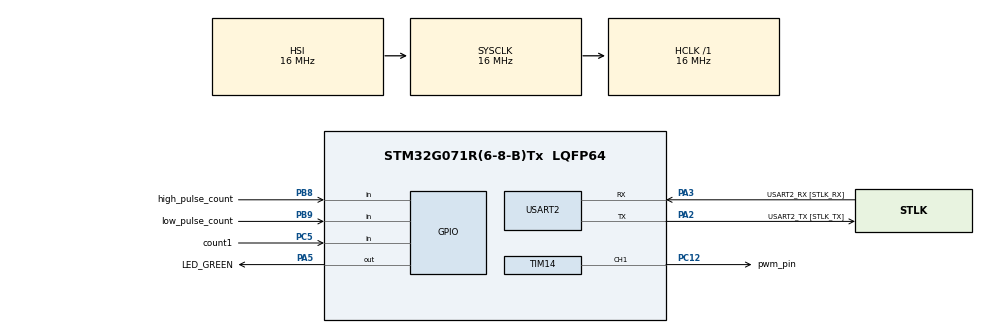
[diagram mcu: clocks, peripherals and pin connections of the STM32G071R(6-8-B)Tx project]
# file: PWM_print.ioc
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Mcu.Family=STM32G0
Mcu.Name=STM32G071R(6-8-B)Tx
Mcu.Package=LQFP64
NVIC.TIM14_IRQn=true\:0\:0\:false\:false\:true\:true\:true
PA13.GPIO_Label=TMS
PA13.Signal=SYS_SWDIO
PA14-BOOT0.GPIO_Label=TCK
PA14-BOOT0.Signal=SYS_SWCLK
PA2.GPIO_Label=USART2_TX [STLK_TX]
PA2.Mode=Asynchronous
PA2.Signal=USART2_TX
PA3.GPIO_Label=USART2_RX [STLK_RX]
PA3.Mode=Asynchronous
PA3.Signal=USART2_RX
PA5.GPIO_Label=LED_GREEN
PA5.GPIO_Speed=GPIO_SPEED_FREQ_HIGH
PA5.Signal=GPIO_Output
PB8.GPIO_Label=high_pulse_count
PB8.Signal=GPIO_Input
PB9.GPIO_Label=low_pulse_count
PB9.Signal=GPIO_Input
PC12.GPIO_Label=pwm_pin
PC12.Signal=S_TIM14_CH1
PC13.Signal=SYS_WKUP2
PC14-OSC32_IN\ (PC14).Signal=RCC_OSC32_IN
PC15-OSC32_OUT\ (PC15).Signal=RCC_OSC32_OUT
PC5.GPIO_Label=count1
PC5.Signal=GPIO_Input
PF0-OSC_IN\ (PF0).GPIO_Label=MCO
PF0-OSC_IN\ (PF0).Signal=RCC_OSC_IN
ProjectManager.HeapSize=0x200
ProjectManager.StackSize=0x400
ProjectManager.TargetToolchain=STM32CubeIDE
RCC.AHBFreq_Value=16000000
RCC.CortexFreq_Value=16000000
RCC.EXTERNAL_CLOCK_VALUE=12288000
RCC.HCLKFreq_Value=16000000
RCC.HSE_VALUE=8000000
RCC.HSI_VALUE=16000000
RCC.LSE_VALUE=32768
RCC.SYSCLKFreq_VALUE=16000000
RCC.VCOOutputFreq_Value=128000000
SH.S_TIM14_CH1.0=TIM14_CH1,PWM Generation1 CH1
TIM14.Channel=TIM_CHANNEL_1
TIM14.Period=1000
TIM14.Prescaler=15999
TIM14.Pulse=99
USART2.VirtualMode-Asynchronous=VM_ASYNC
VP_SYS_VS_DBSignals.Mode=DisableDeadBatterySignals
VP_TIM14_VS_ClockSourceINT.Mode=Enable_Timer
board=NUCLEO-G071RB

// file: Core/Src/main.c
/* USER CODE BEGIN Header */
/**
  ******************************************************************************
  * @file           : main.c
  * @brief          : Main program body
  ******************************************************************************
  * @attention
  *
  * <h2><center>&copy; Copyright (c) 2023 STMicroelectronics.
  * All rights reserved.</center></h2>
  *
  * This software component is licensed by ST under BSD 3-Clause license,
  * the "License"; You may not use this file except in compliance with the
  * License. You may obtain a copy of the License at:
  *                        opensource.org/licenses/BSD-3-Clause
  *
  ******************************************************************************
  */
/* USER CODE END Header */
#include "main.h"

/* USER CODE BEGIN Includes */
#include <stdio.h>
#include <string.h>
/* USER CODE END Includes */

TIM_HandleTypeDef htim14;

UART_HandleTypeDef huart2;

/* USER CODE BEGIN PV */
int input=0;
int count1_pin_input=0;
//int input2=1;
char msg[100];
char msg1[100];
char msg2[100];
int High_pulse_count=0;
int Low_pulse_count=0;
//int time;
int prev_state = 0 ;
int curr_state = 0 ;
/* USER CODE END PV */

void SystemClock_Config(void);
static void MX_GPIO_Init(void);
static void MX_TIM14_Init(void);
static void MX_USART2_UART_Init(void);

int main(void)
{

  /* MCU Configuration--------------------------------------------------------*/

  /* Reset of all peripherals, Initializes the Flash interface and the Systick. */
  HAL_Init();

  /* Configure the system clock */
  SystemClock_Config();

  /* Initialize all configured peripherals */
  MX_GPIO_Init();
  MX_TIM14_Init();
  MX_USART2_UART_Init();
  /* USER CODE BEGIN 2 */
  HAL_TIM_PWM_Start_IT(&htim14, TIM_CHANNEL_1);
  /* USER CODE END 2 */

  /* Infinite loop */
  /* USER CODE BEGIN WHILE */
  while (1)
  {
	  //HAL_Delay(1);
	  input = HAL_GPIO_ReadPin(high_pulse_count_GPIO_Port,	high_pulse_count_Pin);
	  count1_pin_input = HAL_GPIO_ReadPin(count1_GPIO_Port, count1_Pin);

//	  sprintf(msg,"input=%d\r\n",count1_pin_input);
//	  HAL_UART_Transmit(&huart2, (uint8_t*)msg, strlen(msg), HAL_MAX_DELAY);

//	  input = HAL_GPIO_ReadPin(high_pulse_count_GPIO_Port,	high_pulse_count_Pin);
//	  sprintf(msg,"CS=%d\r\n",input);
//	  HAL_UART_Transmit(&huart2, (uint8_t*)msg, strlen(msg), HAL_MAX_DELAY);
//
	  curr_state = input;

	  if(prev_state == 1 && curr_state == 0)
	  {
//		  if(count1_pin_input == 1)
//		  {
//			  High_pulse_count++;
//		  }
		  High_pulse_count++;
		  prev_state = input;

	  }
	  if(prev_state == 0 && curr_state == 1)
	  {
		 Low_pulse_count++;
		 prev_state = input;
	  }

	  sprintf(msg1,"H_2_L_count=%d ",High_pulse_count);
	  HAL_UART_Transmit(&huart2, (uint8_t*)msg1, strlen(msg1), HAL_MAX_DELAY);

	  sprintf(msg2,"L_2_H_count=%d\r\n",Low_pulse_count);
	  HAL_UART_Transmit(&huart2, (uint8_t*)msg2, strlen(msg2), HAL_MAX_DELAY);

//
//	  time = __HAL_TIM_GET_COUNTER(&htim14);
//
//	  if(time==0)
//	  {
//		    input1 = HAL_GPIO_ReadPin(high_pulse_count_GPIO_Port,	high_pulse_count_Pin);
//			input2 = HAL_GPIO_ReadPin(low_pulse_count_GPIO_Port, low_pulse_count_Pin);
//
//			if(input1)
//			{
//				Hpulse++;
//				sprintf(msg1,"high_pulse_count=%d\r\n",Hpulse);
//				HAL_UART_Transmit(&huart2, (uint8_t*)msg1, strlen(msg1), HAL_MAX_DELAY);
//			}
//			if(!input2)
//			{
//				Lpulse++;
//				sprintf(msg2,"low_pulse_count=%d\r\n",Lpulse);
//				HAL_UART_Transmit(&huart2, (uint8_t*)msg2, strlen(msg2), HAL_MAX_DELAY);
//			}
//	  }
//
//	  input = HAL_GPIO_ReadPin(count_GPIO_Port, count_Pin);
//	  time = __HAL_TIM_GET_COUNTER(&htim14);
//
//      HAL_Delay(1);
//
//	  if(time==0)
//	  {
//		  sprintf(msg,"count1=%d  count2 = %d\r\n",count1,count2);
//		  HAL_UART_Transmit(&huart2, (uint8_t*)msg, strlen(msg), HAL_MAX_DELAY);
//		  count2=0;
//		  count1=0;
//	  }
//	  if(input==1)
//	  {
//		  count1++;
//		  //sprintf(msg,"count1=%d\r\n ",count1);
//		  //HAL_UART_Transmit(&huart2, (uint8_t*)msg, strlen(msg), HAL_MAX_DELAY);
//	  }
//	  if(input==0)
//	  {
//		  count2++;
//		  //sprintf(msg,"count2=%d\r\n",count2);
//		  //HAL_UART_Transmit(&huart2, (uint8_t*)msg, strlen(msg), HAL_MAX_DELAY);
//	  }
//	  else
//	  {
//		  count1=0;
//		  count2=0;
//	  }
    /* USER CODE END WHILE */

  }
}

void SystemClock_Config(void)
{
  RCC_OscInitTypeDef RCC_OscInitStruct = {0};
  RCC_ClkInitTypeDef RCC_ClkInitStruct = {0};
  RCC_PeriphCLKInitTypeDef PeriphClkInit = {0};

  /** Configure the main internal regulator output voltage
  */
  HAL_PWREx_ControlVoltageScaling(PWR_REGULATOR_VOLTAGE_SCALE1);
  /** Initializes the RCC Oscillators according to the specified parameters
  * in the RCC_OscInitTypeDef structure.
  */
  RCC_OscInitStruct.OscillatorType = RCC_OSCILLATORTYPE_HSI;
  RCC_OscInitStruct.HSIState = RCC_HSI_ON;
  RCC_OscInitStruct.HSIDiv = RCC_HSI_DIV1;
  RCC_OscInitStruct.HSICalibrationValue = RCC_HSICALIBRATION_DEFAULT;
  RCC_OscInitStruct.PLL.PLLState = RCC_PLL_NONE;
  if (HAL_RCC_OscConfig(&RCC_OscInitStruct) != HAL_OK)
  {
    Error_Handler();
  }
  /** Initializes the CPU, AHB and APB buses clocks
  */
  RCC_ClkInitStruct.ClockType = RCC_CLOCKTYPE_HCLK|RCC_CLOCKTYPE_SYSCLK
                              |RCC_CLOCKTYPE_PCLK1;
  RCC_ClkInitStruct.SYSCLKSource = RCC_SYSCLKSOURCE_HSI;
  RCC_ClkInitStruct.AHBCLKDivider = RCC_SYSCLK_DIV1;
  RCC_ClkInitStruct.APB1CLKDivider = RCC_HCLK_DIV1;

  if (HAL_RCC_ClockConfig(&RCC_ClkInitStruct, FLASH_LATENCY_0) != HAL_OK)
  {
    Error_Handler();
  }
  /** Initializes the peripherals clocks
  */
  PeriphClkInit.PeriphClockSelection = RCC_PERIPHCLK_USART2;
  PeriphClkInit.Usart2ClockSelection = RCC_USART2CLKSOURCE_PCLK1;
  if (HAL_RCCEx_PeriphCLKConfig(&PeriphClkInit) != HAL_OK)
  {
    Error_Handler();
  }
}

static void MX_TIM14_Init(void)
{

  TIM_OC_InitTypeDef sConfigOC = {0};

  htim14.Instance = TIM14;
  htim14.Init.Prescaler = 15999;
  htim14.Init.CounterMode = TIM_COUNTERMODE_UP;
  htim14.Init.Period = 1000;
  htim14.Init.ClockDivision = TIM_CLOCKDIVISION_DIV1;
  htim14.Init.AutoReloadPreload = TIM_AUTORELOAD_PRELOAD_DISABLE;
  if (HAL_TIM_Base_Init(&htim14) != HAL_OK)
  {
    Error_Handler();
  }
  if (HAL_TIM_PWM_Init(&htim14) != HAL_OK)
  {
    Error_Handler();
  }
  sConfigOC.OCMode = TIM_OCMODE_PWM1;
  sConfigOC.Pulse = 99;
  sConfigOC.OCPolarity = TIM_OCPOLARITY_HIGH;
  sConfigOC.OCFastMode = TIM_OCFAST_DISABLE;
  if (HAL_TIM_PWM_ConfigChannel(&htim14, &sConfigOC, TIM_CHANNEL_1) != HAL_OK)
  {
    Error_Handler();
  }
  HAL_TIM_MspPostInit(&htim14);

}

static void MX_USART2_UART_Init(void)
{

  huart2.Instance = USART2;
  huart2.Init.BaudRate = 115200;
  huart2.Init.WordLength = UART_WORDLENGTH_8B;
  huart2.Init.StopBits = UART_STOPBITS_1;
  huart2.Init.Parity = UART_PARITY_NONE;
  huart2.Init.Mode = UART_MODE_TX_RX;
  huart2.Init.HwFlowCtl = UART_HWCONTROL_NONE;
  huart2.Init.OverSampling = UART_OVERSAMPLING_16;
  huart2.Init.OneBitSampling = UART_ONE_BIT_SAMPLE_DISABLE;
  huart2.Init.ClockPrescaler = UART_PRESCALER_DIV1;
  huart2.AdvancedInit.AdvFeatureInit = UART_ADVFEATURE_NO_INIT;
  if (HAL_UART_Init(&huart2) != HAL_OK)
  {
    Error_Handler();
  }
  if (HAL_UARTEx_SetTxFifoThreshold(&huart2, UART_TXFIFO_THRESHOLD_1_8) != HAL_OK)
  {
    Error_Handler();
  }
  if (HAL_UARTEx_SetRxFifoThreshold(&huart2, UART_RXFIFO_THRESHOLD_1_8) != HAL_OK)
  {
    Error_Handler();
  }
  if (HAL_UARTEx_DisableFifoMode(&huart2) != HAL_OK)
  {
    Error_Handler();
  }

}

static void MX_GPIO_Init(void)
{
  GPIO_InitTypeDef GPIO_InitStruct = {0};

  /* GPIO Ports Clock Enable */
  __HAL_RCC_GPIOC_CLK_ENABLE();
  __HAL_RCC_GPIOF_CLK_ENABLE();
  __HAL_RCC_GPIOA_CLK_ENABLE();
  __HAL_RCC_GPIOB_CLK_ENABLE();

  /*Configure GPIO pin Output Level */
  HAL_GPIO_WritePin(LED_GREEN_GPIO_Port, LED_GREEN_Pin, GPIO_PIN_RESET);

  /*Configure GPIO pin : LED_GREEN_Pin */
  GPIO_InitStruct.Pin = LED_GREEN_Pin;
  GPIO_InitStruct.Mode = GPIO_MODE_OUTPUT_PP;
  GPIO_InitStruct.Pull = GPIO_PULLDOWN;
  GPIO_InitStruct.Speed = GPIO_SPEED_FREQ_HIGH;
  HAL_GPIO_Init(LED_GREEN_GPIO_Port, &GPIO_InitStruct);

  /*Configure GPIO pin : count1_Pin */
  GPIO_InitStruct.Pin = count1_Pin;
  GPIO_InitStruct.Mode = GPIO_MODE_INPUT;
  GPIO_InitStruct.Pull = GPIO_NOPULL;
  HAL_GPIO_Init(count1_GPIO_Port, &GPIO_InitStruct);

  /*Configure GPIO pins : high_pulse_count_Pin low_pulse_count_Pin */
  GPIO_InitStruct.Pin = high_pulse_count_Pin|low_pulse_count_Pin;
  GPIO_InitStruct.Mode = GPIO_MODE_INPUT;
  GPIO_InitStruct.Pull = GPIO_NOPULL;
  HAL_GPIO_Init(GPIOB, &GPIO_InitStruct);

}

void Error_Handler(void)
{
  __disable_irq();
  while (1)
  {
  }
}

/************************ (C) COPYRIGHT STMicroelectronics *****END OF FILE****/
